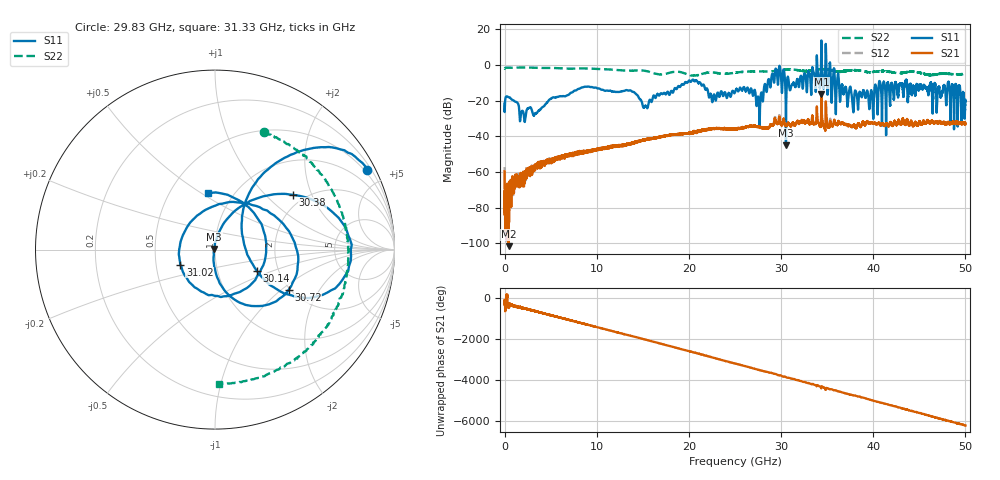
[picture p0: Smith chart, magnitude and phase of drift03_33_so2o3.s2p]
!Created with skrf (http://scikit-rf.org).
# Hz S RI R 50.0
!freq ReS11 ImS11 ReS21 ImS21 ReS12 ImS12 ReS22 ImS22
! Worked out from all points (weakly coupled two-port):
!   10001 points, 300 kHz to 50 GHz, reference 50 ohm
!   highest |S21| = -16.44 dB at 34.37 GHz (marker M1); lowest = -101.6 dB at 440.3 MHz (marker M2)
!   lowest |S11| = -44.9 dB at 30.53 GHz (marker M3), VSWR 1.01, Z = 49.5 + j0.293 ohm
!   |S11| at or under -10 dB: start of sweep to 19.55 GHz; 21.25 GHz to 28.55 GHz (7.296 GHz wide, 29.3 % of centre); 36.28 GHz to 40.62 GHz (4.34 GHz wide, 11.3 % of centre) (the widest 3 of 36)
!   |S22| runs from -5.9 to -1.3 dB; largest |S21 - S12| = 0.026
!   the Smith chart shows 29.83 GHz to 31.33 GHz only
!   S11 on the Smith chart (normalised r, x): 29.83 GHz: 0.42, +4.04; 30.14 GHz: 1.55, -0.39; 30.38 GHz: 1.74, +1.48; 30.72 GHz: 1.97, -1.13; 31.02 GHz: 0.67, -0.12; 31.33 GHz: 0.76, +0.54
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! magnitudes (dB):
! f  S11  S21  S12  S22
! 300 kHz  -21.6  -59.7  -57.3  -2.1
! 440.3 MHz  -18.0  -101.6  -67.3  -1.4
! 3.3 GHz  -27.2  -56.1  -56.6  -1.5
! 8.335 GHz  -12.6  -48.8  -48.9  -1.9
! 15.28 GHz  -22.8  -41.7  -41.7  -3.3
! 16.67 GHz  -16.5  -40.7  -40.6  -5.2
! 20.26 GHz  -9.1  -37.9  -38.0  -5.8
! 22.71 GHz  -16.5  -35.7  -35.5  -4.2
! 25 GHz  -15.3  -35.7  -35.8  -4.3
! 27.53 GHz  -17.8  -34.7  -34.5  -3.5
! 29.83 GHz  -0.4  -29.1  -28.6  -3.0
! 30.14 GHz  -11.7  -33.3  -33.4  -2.8
! 30.38 GHz  -5.5  -32.1  -32.4  -2.6
! 30.53 GHz  -44.9  -34.1  -34.1  -2.5
! 30.72 GHz  -6.6  -32.8  -32.7  -2.5
! 31.02 GHz  -13.5  -34.3  -34.4  -2.4
! 31.33 GHz  -9.9  -32.5  -32.5  -2.5
! 33.34 GHz  -7.4  -31.3  -31.2  -2.9
! 34.37 GHz  13.8  -16.4  -17.7  -2.3
! 37.85 GHz  -26.4  -33.7  -34.3  -2.8
! 41.67 GHz  -11.5  -34.1  -34.1  -3.7
! 50 GHz  -20.3  -33.1  -32.6  -5.0
